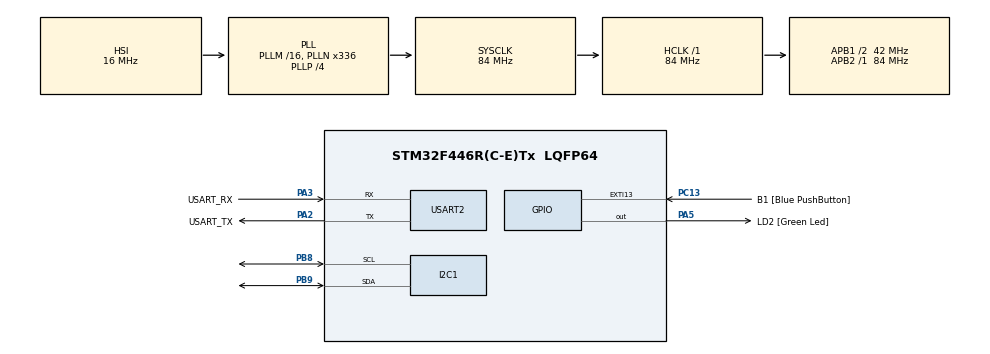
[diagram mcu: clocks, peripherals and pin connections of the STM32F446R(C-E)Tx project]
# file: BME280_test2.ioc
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Mcu.Family=STM32F4
Mcu.Name=STM32F446R(C-E)Tx
Mcu.Package=LQFP64
NVIC.PriorityGroup=NVIC_PRIORITYGROUP_0
PA13.GPIO_Label=TMS
PA13.Mode=Serial_Wire
PA13.Signal=SYS_JTMS-SWDIO
PA14.GPIO_Label=TCK
PA14.Mode=Serial_Wire
PA14.Signal=SYS_JTCK-SWCLK
PA2.GPIO_Label=USART_TX
PA2.Mode=Asynchronous
PA2.Signal=USART2_TX
PA3.GPIO_Label=USART_RX
PA3.Mode=Asynchronous
PA3.Signal=USART2_RX
PA5.GPIO_Label=LD2 [Green Led]
PA5.Signal=GPIO_Output
PB3.GPIO_Label=SWO
PB3.Signal=SYS_JTDO-SWO
PB8.Mode=I2C
PB8.Signal=I2C1_SCL
PB9.Mode=I2C
PB9.Signal=I2C1_SDA
PC13.GPIO_Label=B1 [Blue PushButton]
PC13.GPIO_ModeDefaultEXTI=GPIO_MODE_IT_FALLING
PC13.Signal=GPXTI13
PC14-OSC32_IN.Mode=LSE-External-Oscillator
PC14-OSC32_IN.Signal=RCC_OSC32_IN
PC15-OSC32_OUT.Mode=LSE-External-Oscillator
PC15-OSC32_OUT.Signal=RCC_OSC32_OUT
PH0-OSC_IN.Mode=HSE-External-Oscillator
PH0-OSC_IN.Signal=RCC_OSC_IN
PH1-OSC_OUT.Mode=HSE-External-Oscillator
PH1-OSC_OUT.Signal=RCC_OSC_OUT
ProjectManager.HeapSize=0x200
ProjectManager.StackSize=0x400
ProjectManager.TargetToolchain=STM32CubeIDE
RCC.48MHZClocksFreq_Value=84000000
RCC.AHBFreq_Value=84000000
RCC.APB1CLKDivider=RCC_HCLK_DIV2
RCC.APB1Freq_Value=42000000
RCC.APB1TimFreq_Value=84000000
RCC.APB2Freq_Value=84000000
RCC.APB2TimFreq_Value=84000000
RCC.CortexFreq_Value=84000000
RCC.FLatency-AdvancedSettings=FLASH_LATENCY_2
RCC.HCLKFreq_Value=84000000
RCC.HSE_VALUE=8000000
RCC.HSI_VALUE=16000000
RCC.PLLN=336
RCC.PLLP=RCC_PLLP_DIV4
RCC.SYSCLKFreq_VALUE=84000000
RCC.SYSCLKSource=RCC_SYSCLKSOURCE_PLLCLK
RCC.USBFreq_Value=168000000
RCC.VCOOutputFreq_Value=336000000
USART2.VirtualMode=VM_ASYNC
board=NUCLEO-F446RE

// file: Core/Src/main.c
/* USER CODE BEGIN Header */
/**
  ******************************************************************************
  * @file           : main.c
  * @brief          : Main program body
  ******************************************************************************
  * @attention
  *
  * Copyright (c) 2026 STMicroelectronics.
  * All rights reserved.
  *
  * This software is licensed under terms that can be found in the LICENSE file
  * in the root directory of this software component.
  * If no LICENSE file comes with this software, it is provided AS-IS.
  *
  ******************************************************************************
  */
/* USER CODE END Header */
#include "main.h"

/* USER CODE BEGIN Includes */
#include "bme280.h"
#include <stdio.h>
/* USER CODE END Includes */

I2C_HandleTypeDef hi2c1;

UART_HandleTypeDef huart2;

/* USER CODE BEGIN PV */
/* BME280 device and data (I2C addr: 0x76=SDO_GND, 0x77=SDO_VDD) */
struct bme280_dev dev;
struct bme280_data comp_data;
#define BME280_I2C_ADDR  (BME280_I2C_ADDR_PRIM)  /* Change to BME280_I2C_ADDR_SEC if SDO=VDD */
#define I2C_TIMEOUT_MS   10
/* USER CODE END PV */

void SystemClock_Config(void);
static void MX_GPIO_Init(void);
static void MX_USART2_UART_Init(void);
static void MX_I2C1_Init(void);
/* USER CODE BEGIN PFP */
static int8_t bme280_i2c_read(uint8_t reg_addr, uint8_t *reg_data, uint32_t len, void *intf_ptr);
static int8_t bme280_i2c_write(uint8_t reg_addr, const uint8_t *reg_data, uint32_t len, void *intf_ptr);
static void bme280_delay_us(uint32_t period, void *intf_ptr);
/* USER CODE END PFP */

int main(void)
{

  /* MCU Configuration--------------------------------------------------------*/

  /* Reset of all peripherals, Initializes the Flash interface and the Systick. */
  HAL_Init();

  /* Configure the system clock */
  SystemClock_Config();

  /* Initialize all configured peripherals */
  MX_GPIO_Init();
  MX_USART2_UART_Init();
  MX_I2C1_Init();
  /* USER CODE BEGIN 2 */
  /* Wire BME280 driver to I2C */
  dev.intf = BME280_I2C_INTF;
  dev.intf_ptr = &hi2c1;
  dev.read = bme280_i2c_read;
  dev.write = bme280_i2c_write;
  dev.delay_us = bme280_delay_us;

  if (bme280_init(&dev) != BME280_OK)
  {
    printf("BME280 init FAIL (check I2C addr 0x%02X, SDO wiring)\r\n", (unsigned)BME280_I2C_ADDR);
    /* Blink LED on error */
    while (1)
    {
      HAL_GPIO_TogglePin(LD2_GPIO_Port, LD2_Pin);
      HAL_Delay(200);
    }
  }
  printf("BME280 OK - starting readings\r\n");

  (void)bme280_set_sensor_mode(BME280_POWERMODE_NORMAL, &dev);
  /* USER CODE END 2 */

  /* Infinite loop */
  while (1)
  {

    /* USER CODE BEGIN 3 */
    if (bme280_get_sensor_data(BME280_ALL, &comp_data, &dev) == BME280_OK)
    {
      /* temp: 0.01 C, pressure: Pa, humidity: 0.001 % */
      int32_t t = comp_data.temperature;
      uint32_t t_frac = (uint32_t)(t < 0 ? -t : t) % 100;
      printf("T: %ld.%02lu C, P: %lu Pa, H: %lu.%01lu %%\r\n",
             (long)(t / 100), t_frac,
             (unsigned long)comp_data.pressure,
             (unsigned long)(comp_data.humidity / 1000),
             (unsigned long)((comp_data.humidity % 1000) / 100));
    }
    else
    {
      printf("BME280 read fail\r\n");
    }
    HAL_Delay(1000);
  }
  /* USER CODE END 3 */
}

void SystemClock_Config(void)
{
  RCC_OscInitTypeDef RCC_OscInitStruct = {0};
  RCC_ClkInitTypeDef RCC_ClkInitStruct = {0};

  /** Configure the main internal regulator output voltage
  */
  __HAL_RCC_PWR_CLK_ENABLE();
  __HAL_PWR_VOLTAGESCALING_CONFIG(PWR_REGULATOR_VOLTAGE_SCALE3);

  /** Initializes the RCC Oscillators according to the specified parameters
  * in the RCC_OscInitTypeDef structure.
  */
  RCC_OscInitStruct.OscillatorType = RCC_OSCILLATORTYPE_HSI;
  RCC_OscInitStruct.HSIState = RCC_HSI_ON;
  RCC_OscInitStruct.HSICalibrationValue = RCC_HSICALIBRATION_DEFAULT;
  RCC_OscInitStruct.PLL.PLLState = RCC_PLL_ON;
  RCC_OscInitStruct.PLL.PLLSource = RCC_PLLSOURCE_HSI;
  RCC_OscInitStruct.PLL.PLLM = 16;
  RCC_OscInitStruct.PLL.PLLN = 336;
  RCC_OscInitStruct.PLL.PLLP = RCC_PLLP_DIV4;
  RCC_OscInitStruct.PLL.PLLQ = 2;
  RCC_OscInitStruct.PLL.PLLR = 2;
  if (HAL_RCC_OscConfig(&RCC_OscInitStruct) != HAL_OK)
  {
    Error_Handler();
  }

  /** Initializes the CPU, AHB and APB buses clocks
  */
  RCC_ClkInitStruct.ClockType = RCC_CLOCKTYPE_HCLK|RCC_CLOCKTYPE_SYSCLK
                              |RCC_CLOCKTYPE_PCLK1|RCC_CLOCKTYPE_PCLK2;
  RCC_ClkInitStruct.SYSCLKSource = RCC_SYSCLKSOURCE_PLLCLK;
  RCC_ClkInitStruct.AHBCLKDivider = RCC_SYSCLK_DIV1;
  RCC_ClkInitStruct.APB1CLKDivider = RCC_HCLK_DIV2;
  RCC_ClkInitStruct.APB2CLKDivider = RCC_HCLK_DIV1;

  if (HAL_RCC_ClockConfig(&RCC_ClkInitStruct, FLASH_LATENCY_2) != HAL_OK)
  {
    Error_Handler();
  }
}

static void MX_I2C1_Init(void)
{

  hi2c1.Instance = I2C1;
  hi2c1.Init.ClockSpeed = 100000;
  hi2c1.Init.DutyCycle = I2C_DUTYCYCLE_2;
  hi2c1.Init.OwnAddress1 = 0;
  hi2c1.Init.AddressingMode = I2C_ADDRESSINGMODE_7BIT;
  hi2c1.Init.DualAddressMode = I2C_DUALADDRESS_DISABLE;
  hi2c1.Init.OwnAddress2 = 0;
  hi2c1.Init.GeneralCallMode = I2C_GENERALCALL_DISABLE;
  hi2c1.Init.NoStretchMode = I2C_NOSTRETCH_DISABLE;
  if (HAL_I2C_Init(&hi2c1) != HAL_OK)
  {
    Error_Handler();
  }

}

static void MX_USART2_UART_Init(void)
{

  huart2.Instance = USART2;
  huart2.Init.BaudRate = 115200;
  huart2.Init.WordLength = UART_WORDLENGTH_8B;
  huart2.Init.StopBits = UART_STOPBITS_1;
  huart2.Init.Parity = UART_PARITY_NONE;
  huart2.Init.Mode = UART_MODE_TX_RX;
  huart2.Init.HwFlowCtl = UART_HWCONTROL_NONE;
  huart2.Init.OverSampling = UART_OVERSAMPLING_16;
  if (HAL_UART_Init(&huart2) != HAL_OK)
  {
    Error_Handler();
  }

}

static void MX_GPIO_Init(void)
{
  GPIO_InitTypeDef GPIO_InitStruct = {0};

  /* GPIO Ports Clock Enable */
  __HAL_RCC_GPIOC_CLK_ENABLE();
  __HAL_RCC_GPIOH_CLK_ENABLE();
  __HAL_RCC_GPIOA_CLK_ENABLE();
  __HAL_RCC_GPIOB_CLK_ENABLE();

  /*Configure GPIO pin Output Level */
  HAL_GPIO_WritePin(LD2_GPIO_Port, LD2_Pin, GPIO_PIN_RESET);

  /*Configure GPIO pin : B1_Pin */
  GPIO_InitStruct.Pin = B1_Pin;
  GPIO_InitStruct.Mode = GPIO_MODE_IT_FALLING;
  GPIO_InitStruct.Pull = GPIO_NOPULL;
  HAL_GPIO_Init(B1_GPIO_Port, &GPIO_InitStruct);

  /*Configure GPIO pin : LD2_Pin */
  GPIO_InitStruct.Pin = LD2_Pin;
  GPIO_InitStruct.Mode = GPIO_MODE_OUTPUT_PP;
  GPIO_InitStruct.Pull = GPIO_NOPULL;
  GPIO_InitStruct.Speed = GPIO_SPEED_FREQ_LOW;
  HAL_GPIO_Init(LD2_GPIO_Port, &GPIO_InitStruct);

}

/* USER CODE BEGIN 4 */
/* Retarget: printf() output goes to USART2 (115200 baud) */
int __io_putchar(int ch)
{
  uint8_t c = (uint8_t)ch;
  HAL_UART_Transmit(&huart2, &c, 1, 10);
  return ch;
}

/* BME280 I2C read: HAL expects 7-bit addr; use BME280 addr as-is for Mem_Read */
static int8_t bme280_i2c_read(uint8_t reg_addr, uint8_t *reg_data, uint32_t len, void *intf_ptr)
{
  I2C_HandleTypeDef *hi2c = (I2C_HandleTypeDef *)intf_ptr;
  if (HAL_I2C_Mem_Read(hi2c, BME280_I2C_ADDR << 1, reg_addr, 1, reg_data, len, I2C_TIMEOUT_MS) != HAL_OK)
    return BME280_E_COMM_FAIL;
  return BME280_INTF_RET_SUCCESS;
}

/* BME280 I2C write: reg_data may be interleaved (burst); HAL sends reg_addr then buffer */
static int8_t bme280_i2c_write(uint8_t reg_addr, const uint8_t *reg_data, uint32_t len, void *intf_ptr)
{
  I2C_HandleTypeDef *hi2c = (I2C_HandleTypeDef *)intf_ptr;
  if (HAL_I2C_Mem_Write(hi2c, BME280_I2C_ADDR << 1, reg_addr, 1, (uint8_t *)reg_data, len, I2C_TIMEOUT_MS) != HAL_OK)
    return BME280_E_COMM_FAIL;
  return BME280_INTF_RET_SUCCESS;
}

/* BME280 delay: driver needs us; HAL_Delay uses ms, so round up */
static void bme280_delay_us(uint32_t period, void *intf_ptr)
{
  (void)intf_ptr;
  HAL_Delay((period + 999) / 1000);
}
/* USER CODE END 4 */

void Error_Handler(void)
{
  __disable_irq();
  while (1)
  {
  }
}
